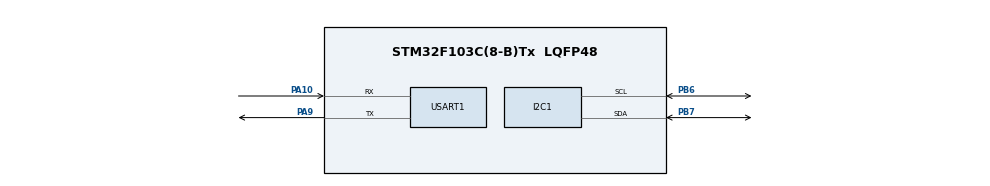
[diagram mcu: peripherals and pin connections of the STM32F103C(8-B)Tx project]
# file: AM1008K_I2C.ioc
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Mcu.Family=STM32F1
Mcu.Name=STM32F103C(8-B)Tx
Mcu.Package=LQFP48
NVIC.PriorityGroup=NVIC_PRIORITYGROUP_4
PA10.Mode=Asynchronous
PA10.Signal=USART1_RX
PA9.Mode=Asynchronous
PA9.Signal=USART1_TX
PB6.Mode=I2C
PB6.Signal=I2C1_SCL
PB7.Mode=I2C
PB7.Signal=I2C1_SDA
ProjectManager.HeapSize=0x200
ProjectManager.StackSize=0x400
ProjectManager.TargetToolchain=STM32CubeIDE
RCC.APB1Freq_Value=8000000
RCC.APB2Freq_Value=8000000
USART1.VirtualMode=VM_ASYNC
VP_SYS_VS_ND.Mode=No_Debug
board=custom

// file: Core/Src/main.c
/* USER CODE BEGIN Header */
/**
  ******************************************************************************
  * @file           : main.c
  * @brief          : Main program body
  ******************************************************************************
  * @attention
  *
  * Copyright (c) 2024 STMicroelectronics.
  * All rights reserved.
  *
  * This software is licensed under terms that can be found in the LICENSE file
  * in the root directory of this software component.
  * If no LICENSE file comes with this software, it is provided AS-IS.
  *
  ******************************************************************************
  */
/* USER CODE END Header */
#include "main.h"
#include "string.h"
#include "am1008w_k_i2c.h"

I2C_HandleTypeDef hi2c1;

UART_HandleTypeDef huart1;

void SystemClock_Config(void);
static void MX_GPIO_Init(void);
static void MX_I2C1_Init(void);
static void MX_USART1_UART_Init(void);

int main(void)
{

  /* MCU Configuration--------------------------------------------------------*/

  /* Reset of all peripherals, Initializes the Flash interface and the Systick. */
  HAL_Init();

  /* Configure the system clock */
  SystemClock_Config();

  /* Initialize all configured peripherals */
  MX_GPIO_Init();
  MX_I2C1_Init();
  MX_USART1_UART_Init();
  /* USER CODE BEGIN 2 */

  am1008w_k_i2c_begin(&hi2c1);
  uint8_t status;
  uint8_t inputBuffer[3] = {1, 2};
  /* USER CODE END 2 */

  /* Infinite loop */
  /* USER CODE BEGIN WHILE */
  while (1)
  {
      status = am1008w_k_i2c_read_data_command();
      HAL_UART_Transmit(&huart1, inputBuffer, 0, 1000);
      // 상태 확인
      if (status == 0)
      {
          // 데이터를 성공적으로 읽었으면, 센서 값 가져오기
          uint16_t co2 = am1008w_k_i2c_get_co2();
          uint16_t voc = am1008w_k_i2c_get_voc();
          float humidity = am1008w_k_i2c_get_humidity();
          float temperature = am1008w_k_i2c_get_temperature();
          uint16_t pm1p0 = am1008w_k_i2c_get_pm1p0();
          uint16_t pm2p5 = am1008w_k_i2c_get_pm2p5();
          uint16_t pm10 = am1008w_k_i2c_get_pm10();

          // UART로 출력
          char buffer[256];
          //sprintf(buffer, sizeof(buffer),
          //         "CO2: %d, VOC: %d, Humidity: %.1f, Temperature: %.1f, PM1.0: %d, PM2.5: %d, PM10: %d\r\n",
          //         co2, voc, humidity, temperature, pm1p0, pm2p5, pm10);
          HAL_UART_Transmit(&huart1, inputBuffer, 0, 1000);
      }
      else
      {
          // 오류 발생 시 UART로 오류 메시지 출력
          char buffer[50];
          //sprintf(buffer, sizeof(buffer), "Error reading sensor data, status: %d\r\n", status);
          HAL_UART_Transmit(&huart1, inputBuffer, 0, 1000);
      }

      // 데이터를 다시 읽기 전에 잠시 지연
      HAL_Delay(1000);
    /* USER CODE END WHILE */

  }
}

void SystemClock_Config(void)
{
  RCC_OscInitTypeDef RCC_OscInitStruct = {0};
  RCC_ClkInitTypeDef RCC_ClkInitStruct = {0};

  /** Initializes the RCC Oscillators according to the specified parameters
  * in the RCC_OscInitTypeDef structure.
  */
  RCC_OscInitStruct.OscillatorType = RCC_OSCILLATORTYPE_HSI;
  RCC_OscInitStruct.HSIState = RCC_HSI_ON;
  RCC_OscInitStruct.HSICalibrationValue = RCC_HSICALIBRATION_DEFAULT;
  RCC_OscInitStruct.PLL.PLLState = RCC_PLL_NONE;
  if (HAL_RCC_OscConfig(&RCC_OscInitStruct) != HAL_OK)
  {
    Error_Handler();
  }

  /** Initializes the CPU, AHB and APB buses clocks
  */
  RCC_ClkInitStruct.ClockType = RCC_CLOCKTYPE_HCLK|RCC_CLOCKTYPE_SYSCLK
                              |RCC_CLOCKTYPE_PCLK1|RCC_CLOCKTYPE_PCLK2;
  RCC_ClkInitStruct.SYSCLKSource = RCC_SYSCLKSOURCE_HSI;
  RCC_ClkInitStruct.AHBCLKDivider = RCC_SYSCLK_DIV1;
  RCC_ClkInitStruct.APB1CLKDivider = RCC_HCLK_DIV1;
  RCC_ClkInitStruct.APB2CLKDivider = RCC_HCLK_DIV1;

  if (HAL_RCC_ClockConfig(&RCC_ClkInitStruct, FLASH_LATENCY_0) != HAL_OK)
  {
    Error_Handler();
  }
}

static void MX_I2C1_Init(void)
{

  hi2c1.Instance = I2C1;
  hi2c1.Init.ClockSpeed = 100000;
  hi2c1.Init.DutyCycle = I2C_DUTYCYCLE_2;
  hi2c1.Init.OwnAddress1 = 0;
  hi2c1.Init.AddressingMode = I2C_ADDRESSINGMODE_7BIT;
  hi2c1.Init.DualAddressMode = I2C_DUALADDRESS_DISABLE;
  hi2c1.Init.OwnAddress2 = 0;
  hi2c1.Init.GeneralCallMode = I2C_GENERALCALL_DISABLE;
  hi2c1.Init.NoStretchMode = I2C_NOSTRETCH_DISABLE;
  if (HAL_I2C_Init(&hi2c1) != HAL_OK)
  {
    Error_Handler();
  }

}

static void MX_USART1_UART_Init(void)
{

  huart1.Instance = USART1;
  huart1.Init.BaudRate = 115200;
  huart1.Init.WordLength = UART_WORDLENGTH_8B;
  huart1.Init.StopBits = UART_STOPBITS_1;
  huart1.Init.Parity = UART_PARITY_NONE;
  huart1.Init.Mode = UART_MODE_TX_RX;
  huart1.Init.HwFlowCtl = UART_HWCONTROL_NONE;
  huart1.Init.OverSampling = UART_OVERSAMPLING_16;
  if (HAL_UART_Init(&huart1) != HAL_OK)
  {
    Error_Handler();
  }

}

static void MX_GPIO_Init(void)
{

  /* GPIO Ports Clock Enable */
  __HAL_RCC_GPIOA_CLK_ENABLE();
  __HAL_RCC_GPIOB_CLK_ENABLE();

}

void Error_Handler(void)
{
  __disable_irq();
  while (1)
  {
  }
}
